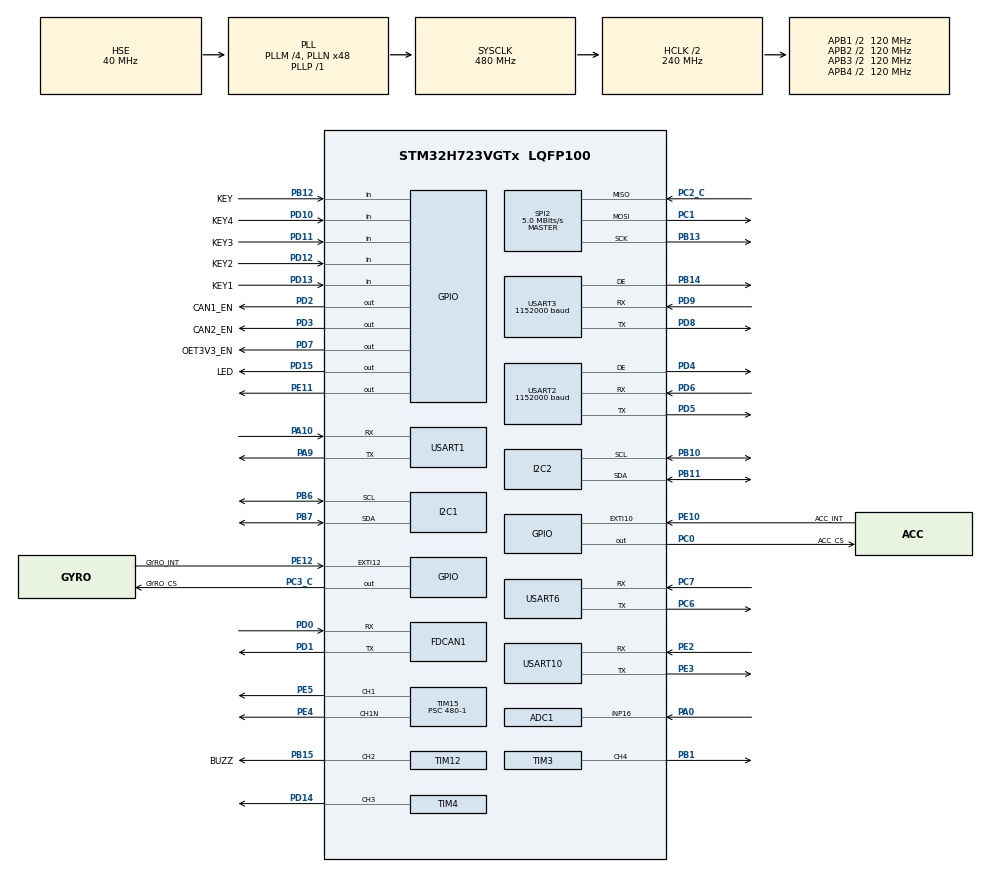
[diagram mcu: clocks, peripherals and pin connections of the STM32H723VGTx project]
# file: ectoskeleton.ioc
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ADC1.Channel-1\#ChannelRegularConversion=ADC_CHANNEL_16
ADC1.ContinuousConvMode=DISABLE
ADC1.ConversionDataManagement=ADC_CONVERSIONDATA_DMA_CIRCULAR
ADC1.DiscontinuousConvMode=ENABLE
ADC1.EnableRegularConversion=ENABLE
ADC1.NbrOfConversionFlag=1
ADC1.OffsetNumber-1\#ChannelRegularConversion=ADC_OFFSET_NONE
ADC1.OffsetSignedSaturation-1\#ChannelRegularConversion=DISABLE
ADC1.Rank-1\#ChannelRegularConversion=1
ADC1.SamplingTime-1\#ChannelRegularConversion=ADC_SAMPLETIME_1CYCLE_5
ADC1.master=1
CORTEX_M7.default_mode_Activation=0
Dma.ADC1.3.Direction=DMA_PERIPH_TO_MEMORY
Dma.ADC1.3.EventEnable=DISABLE
Dma.ADC1.3.FIFOMode=DMA_FIFOMODE_DISABLE
Dma.ADC1.3.Instance=DMA1_Stream5
Dma.ADC1.3.MemDataAlignment=DMA_MDATAALIGN_HALFWORD
Dma.ADC1.3.MemInc=DMA_MINC_ENABLE
Dma.ADC1.3.Mode=DMA_NORMAL
Dma.ADC1.3.PeriphDataAlignment=DMA_PDATAALIGN_HALFWORD
Dma.ADC1.3.PeriphInc=DMA_PINC_DISABLE
Dma.ADC1.3.Polarity=HAL_DMAMUX_REQ_GEN_RISING
Dma.ADC1.3.Priority=DMA_PRIORITY_LOW
Dma.ADC1.3.RequestNumber=1
Dma.ADC1.3.SignalID=NONE
Dma.ADC1.3.SyncEnable=DISABLE
Dma.ADC1.3.SyncPolarity=HAL_DMAMUX_SYNC_NO_EVENT
Dma.ADC1.3.SyncRequestNumber=1
Dma.ADC1.3.SyncSignalID=NONE
Dma.Request0=TIM4_CH3
Dma.Request1=SPI2_RX
Dma.Request2=SPI2_TX
Dma.Request3=ADC1
Dma.SPI2_RX.1.Direction=DMA_PERIPH_TO_MEMORY
Dma.SPI2_RX.1.EventEnable=DISABLE
Dma.SPI2_RX.1.FIFOMode=DMA_FIFOMODE_DISABLE
Dma.SPI2_RX.1.Instance=DMA1_Stream1
Dma.SPI2_RX.1.MemDataAlignment=DMA_MDATAALIGN_BYTE
Dma.SPI2_RX.1.MemInc=DMA_MINC_ENABLE
Dma.SPI2_RX.1.Mode=DMA_NORMAL
Dma.SPI2_RX.1.PeriphDataAlignment=DMA_PDATAALIGN_BYTE
Dma.SPI2_RX.1.PeriphInc=DMA_PINC_DISABLE
Dma.SPI2_RX.1.Polarity=HAL_DMAMUX_REQ_GEN_RISING
Dma.SPI2_RX.1.Priority=DMA_PRIORITY_VERY_HIGH
Dma.SPI2_RX.1.RequestNumber=1
Dma.SPI2_RX.1.SignalID=NONE
Dma.SPI2_RX.1.SyncEnable=DISABLE
Dma.SPI2_RX.1.SyncPolarity=HAL_DMAMUX_SYNC_NO_EVENT
Dma.SPI2_RX.1.SyncRequestNumber=1
Dma.SPI2_RX.1.SyncSignalID=NONE
Dma.SPI2_TX.2.Direction=DMA_MEMORY_TO_PERIPH
Dma.SPI2_TX.2.EventEnable=DISABLE
Dma.SPI2_TX.2.FIFOMode=DMA_FIFOMODE_DISABLE
Dma.SPI2_TX.2.Instance=DMA1_Stream2
Dma.SPI2_TX.2.MemDataAlignment=DMA_MDATAALIGN_BYTE
Dma.SPI2_TX.2.MemInc=DMA_MINC_ENABLE
Dma.SPI2_TX.2.Mode=DMA_NORMAL
Dma.SPI2_TX.2.PeriphDataAlignment=DMA_PDATAALIGN_BYTE
Dma.SPI2_TX.2.PeriphInc=DMA_PINC_DISABLE
Dma.SPI2_TX.2.Polarity=HAL_DMAMUX_REQ_GEN_RISING
Dma.SPI2_TX.2.Priority=DMA_PRIORITY_HIGH
Dma.SPI2_TX.2.RequestNumber=1
Dma.SPI2_TX.2.SignalID=NONE
Dma.SPI2_TX.2.SyncEnable=DISABLE
Dma.SPI2_TX.2.SyncPolarity=HAL_DMAMUX_SYNC_NO_EVENT
Dma.SPI2_TX.2.SyncRequestNumber=1
Dma.SPI2_TX.2.SyncSignalID=NONE
Dma.TIM4_CH3.0.Direction=DMA_PERIPH_TO_MEMORY
Dma.TIM4_CH3.0.EventEnable=DISABLE
Dma.TIM4_CH3.0.FIFOMode=DMA_FIFOMODE_DISABLE
Dma.TIM4_CH3.0.Instance=DMA1_Stream0
Dma.TIM4_CH3.0.MemDataAlignment=DMA_MDATAALIGN_HALFWORD
Dma.TIM4_CH3.0.MemInc=DMA_MINC_ENABLE
Dma.TIM4_CH3.0.Mode=DMA_NORMAL
Dma.TIM4_CH3.0.PeriphDataAlignment=DMA_PDATAALIGN_HALFWORD
Dma.TIM4_CH3.0.PeriphInc=DMA_PINC_DISABLE
Dma.TIM4_CH3.0.Polarity=HAL_DMAMUX_REQ_GEN_RISING
Dma.TIM4_CH3.0.Priority=DMA_PRIORITY_LOW
Dma.TIM4_CH3.0.RequestNumber=1
Dma.TIM4_CH3.0.SignalID=NONE
Dma.TIM4_CH3.0.SyncEnable=DISABLE
Dma.TIM4_CH3.0.SyncPolarity=HAL_DMAMUX_SYNC_NO_EVENT
Dma.TIM4_CH3.0.SyncRequestNumber=1
Dma.TIM4_CH3.0.SyncSignalID=NONE
FDCAN1.AutoRetransmission=ENABLE
FDCAN1.CalculateBaudRateNominal=1000000
FDCAN1.CalculateTimeBitNominal=1000
FDCAN1.CalculateTimeQuantumNominal=12.5
FDCAN1.DataSyncJumpWidth=2
FDCAN1.DataTimeSeg1=13
FDCAN1.DataTimeSeg2=2
FDCAN1.ExtFiltersNbr=4
FDCAN1.NominalPrescaler=1
FDCAN1.NominalSyncJumpWidth=20
FDCAN1.NominalTimeSeg1=59
FDCAN1.NominalTimeSeg2=20
FDCAN1.ProtocolException=ENABLE
FDCAN1.RxBuffersNbr=2
FDCAN1.RxFifo0ElmtsNbr=8
FDCAN1.RxFifo1ElmtsNbr=8
FDCAN1.StdFiltersNbr=4
FDCAN1.TxBuffersNbr=8
FDCAN1.TxEventsNbr=8
FDCAN1.TxFifoQueueElmtsNbr=8
FREERTOS.Tasks01=defaultTask,8,512,StartDefaultTask,Default,NULL,Dynamic,NULL,NULL;LCDTask,23,768,StartLedTask,Default,NULL,Dynamic,NULL,NULL;MotorTask,27,768,StartMotorTask,Default,NULL,Dynamic,NULL,NULL;IMUTask,31,1024,StartIMUTask,Default,NULL,Dynamic,NULL,NULL;S485Task,32,4096,StartS485Task,Default,NULL,Dynamic,NULL,NULL
FREERTOS.configTOTAL_HEAP_SIZE=50960
FREERTOS.configUSE_NEWLIB_REENTRANT=1
I2C1.Timing=0x307075B1
I2C2.Timing=0x307075B1
Mcu.Family=STM32H7
Mcu.Name=STM32H723VGTx
Mcu.Package=LQFP100
NVIC.DMA1_Stream0_IRQn=true\:5\:0\:false\:false\:true\:true\:false\:true\:true
NVIC.DMA1_Stream1_IRQn=true\:5\:0\:false\:false\:true\:true\:false\:true\:true
NVIC.DMA1_Stream2_IRQn=true\:5\:0\:false\:false\:true\:true\:false\:true\:true
NVIC.DMA1_Stream5_IRQn=true\:5\:0\:false\:false\:true\:true\:false\:true\:true
NVIC.EXTI15_10_IRQn=true\:5\:0\:false\:false\:true\:false\:true\:true\:true
NVIC.FDCAN1_IT0_IRQn=true\:5\:0\:false\:false\:true\:true\:true\:true\:true
NVIC.FDCAN1_IT1_IRQn=true\:5\:0\:false\:false\:true\:true\:true\:true\:true
NVIC.PriorityGroup=NVIC_PRIORITYGROUP_4
NVIC.SPI2_IRQn=true\:5\:0\:false\:false\:true\:true\:false\:true\:true
NVIC.TIM1_UP_IRQn=true\:15\:0\:false\:false\:true\:false\:false\:true\:true
NVIC.TimeBase=TIM1_UP_IRQn
NVIC.TimeBaseIP=TIM1
NVIC.USART10_IRQn=true\:5\:0\:false\:false\:true\:true\:true\:true\:true
NVIC.USART1_IRQn=true\:5\:0\:false\:false\:true\:true\:true\:true\:true
NVIC.USART2_IRQn=true\:5\:0\:false\:false\:true\:true\:true\:true\:true
NVIC.USART3_IRQn=true\:5\:0\:false\:false\:true\:true\:true\:true\:true
NVIC.USART6_IRQn=true\:5\:0\:false\:false\:true\:true\:true\:true\:true
PA0.Mode=IN16-Single-Ended
PA0.Signal=ADC1_INP16
PA10.Mode=Asynchronous
PA10.Signal=USART1_RX
PA13(JTMS/SWDIO).Mode=Serial_Wire
PA13(JTMS/SWDIO).Signal=DEBUG_JTMS-SWDIO
PA14(JTCK/SWCLK).Mode=Serial_Wire
PA14(JTCK/SWCLK).Signal=DEBUG_JTCK-SWCLK
PA9.Mode=Asynchronous
PA9.Signal=USART1_TX
PB1.Signal=S_TIM3_CH4
PB10.Mode=I2C
PB10.Signal=I2C2_SCL
PB11.Mode=I2C
PB11.Signal=I2C2_SDA
PB12.GPIO_Label=KEY
PB12.Signal=GPIO_Input
PB13.GPIO_Speed=GPIO_SPEED_FREQ_VERY_HIGH
PB13.Mode=Full_Duplex_Master
PB13.Signal=SPI2_SCK
PB14.Mode=Hardware Flow Control (RS485)
PB14.Signal=USART3_DE
PB15.GPIO_Label=BUZZ
PB15.Signal=S_TIM12_CH2
PB6.Mode=I2C
PB6.Signal=I2C1_SCL
PB7.Mode=I2C
PB7.Signal=I2C1_SDA
PC0.GPIO_Label=ACC_CS
PC0.PinState=GPIO_PIN_SET
PC0.Signal=GPIO_Output
PC1.GPIO_Speed=GPIO_SPEED_FREQ_VERY_HIGH
PC1.Mode=Full_Duplex_Master
PC1.Signal=SPI2_MOSI
PC2_C.GPIO_Speed=GPIO_SPEED_FREQ_VERY_HIGH
PC2_C.Mode=Full_Duplex_Master
PC2_C.Signal=SPI2_MISO
PC3_C.GPIO_Label=GYRO_CS
PC3_C.PinState=GPIO_PIN_SET
PC3_C.Signal=GPIO_Output
PC6.GPIO_PuPd=GPIO_PULLUP
PC6.Mode=Asynchronous
PC6.Signal=USART6_TX
PC7.GPIO_PuPd=GPIO_PULLUP
PC7.Mode=Asynchronous
PC7.Signal=USART6_RX
PD0.GPIO_Speed=GPIO_SPEED_FREQ_VERY_HIGH
PD0.Mode=FDCAN_Activate
PD0.Signal=FDCAN1_RX
PD1.GPIO_Speed=GPIO_SPEED_FREQ_VERY_HIGH
PD1.Mode=FDCAN_Activate
PD1.Signal=FDCAN1_TX
PD10.GPIO_Label=KEY4
PD10.Signal=GPIO_Input
PD11.GPIO_Label=KEY3
PD11.Signal=GPIO_Input
PD12.GPIO_Label=KEY2
PD12.Signal=GPIO_Input
PD13.GPIO_Label=KEY1
PD13.Signal=GPIO_Input
PD14.Signal=S_TIM4_CH3
PD15.GPIO_Label=LED
PD15.Signal=GPIO_Output
PD2.GPIO_Label=CAN1_EN
PD2.Signal=GPIO_Output
PD3.GPIO_Label=CAN2_EN
PD3.Signal=GPIO_Output
PD4.Mode=Hardware Flow Control (RS485)
PD4.Signal=USART2_DE
PD5.Mode=Asynchronous
PD5.Signal=USART2_TX
PD6.Mode=Asynchronous
PD6.Signal=USART2_RX
PD7.GPIO_Label=OET3V3_EN
PD7.Signal=GPIO_Output
PD8.Mode=Asynchronous
PD8.Signal=USART3_TX
PD9.Mode=Asynchronous
PD9.Signal=USART3_RX
PE10.GPIO_Label=ACC_INT
PE10.Signal=GPXTI10
PE11.Signal=GPIO_Output
PE12.GPIO_Label=GYRO_INT
PE12.Signal=GPXTI12
PE2.GPIO_PuPd=GPIO_PULLUP
PE2.Mode=Asynchronous
PE2.Signal=USART10_RX
PE3.GPIO_PuPd=GPIO_PULLUP
PE3.Mode=Asynchronous
PE3.Signal=USART10_TX
PE4.Mode=PWM Generation1 CH1 CH1N
PE4.Signal=TIM15_CH1N
PE5.Signal=S_TIM15_CH1
PH0-OSC_IN.Mode=HSE-External-Oscillator
PH0-OSC_IN.Signal=RCC_OSC_IN
PH1-OSC_OUT.Mode=HSE-External-Oscillator
PH1-OSC_OUT.Signal=RCC_OSC_OUT
ProjectManager.HeapSize=0x200
ProjectManager.StackSize=0x400
ProjectManager.TargetToolchain=STM32CubeIDE
RCC.ADCFreq_Value=100000000
RCC.APB1Freq_Value=120000000
RCC.APB2Freq_Value=120000000
RCC.APB3Freq_Value=120000000
RCC.APB4Freq_Value=120000000
RCC.CortexFreq_Value=480000000
RCC.D1PPRE=RCC_APB3_DIV2
RCC.D2PPRE1=RCC_APB1_DIV2
RCC.D2PPRE2=RCC_APB2_DIV2
RCC.D3PPRE=RCC_APB4_DIV2
RCC.DIVM1=4
RCC.DIVM2=3
RCC.DIVN1=48
RCC.DIVN2=15
RCC.DIVP1=1
RCC.DIVQ1=6
RCC.HCLKFreq_Value=240000000
RCC.HPRE=RCC_HCLK_DIV2
RCC.HSE_VALUE=40000000
RCC.PLL2FRACN=0
RCC.PLL2_VCI_Range-AdvancedSettings=RCC_PLL2VCIRANGE_1
RCC.PLL3FRACN=0
RCC.PLL3_VCI_Range-AdvancedSettings=RCC_PLL3VCIRANGE_0
RCC.PLL3_VCO_SEL-AdvancedSettings=RCC_PLL3VCOMEDIUM
RCC.PLLFRACN=0
RCC.PLLSourceVirtual=RCC_PLLSOURCE_HSE
RCC.SYSCLKFreq_VALUE=480000000
RCC.SYSCLKSource=RCC_SYSCLKSOURCE_PLLCLK
RCC.USBFreq_Value=80000000
SH.S_TIM12_CH2.0=TIM12_CH2,PWM Generation2 CH2
SH.S_TIM15_CH1.0=TIM15_CH1,PWM Generation1 CH1 CH1N
SH.S_TIM3_CH4.0=TIM3_CH4,PWM Generation4 CH4
SH.S_TIM4_CH3.0=TIM4_CH3,PWM Generation3 CH3
SPI2.BaudRatePrescaler=SPI_BAUDRATEPRESCALER_16
SPI2.CLKPhase=SPI_PHASE_2EDGE
SPI2.CLKPolarity=SPI_POLARITY_HIGH
SPI2.CalculateBaudRate=5.0 MBits/s
SPI2.DataSize=SPI_DATASIZE_8BIT
SPI2.Direction=SPI_DIRECTION_2LINES
SPI2.Mode=SPI_MODE_MASTER
SPI2.VirtualType=VM_MASTER
TIM12.Channel-PWM\ Generation2\ CH2=TIM_CHANNEL_2
TIM12.Period=2000-1
TIM12.Prescaler=24
TIM15.Channel-PWM\ Generation1\ CH1\ CH1N=TIM_CHANNEL_1
TIM15.Period=1000-1
TIM15.Prescaler=480-1
TIM3.Channel-PWM\ Generation4\ CH4=TIM_CHANNEL_4
TIM4.Channel-PWM\ Generation3\ CH3=TIM_CHANNEL_3
TIM4.Period=687
USART1.VirtualMode-Asynchronous=VM_ASYNC
USART10.VirtualMode=VM_ASYNC
USART2.BaudRate=1152000
USART2.VirtualMode-Asynchronous=VM_ASYNC
USART2.VirtualMode-Hardware\ Flow\ Control\ (RS485)=VM_ASYNC
USART3.BaudRate=1152000
USART3.VirtualMode-Asynchronous=VM_ASYNC
USART3.VirtualMode-Hardware\ Flow\ Control\ (RS485)=VM_ASYNC
USART6.VirtualMode=VM_ASYNC
VP_FREERTOS_VS_CMSIS_V2.Mode=CMSIS_V2
VP_MEMORYMAP_VS_MEMORYMAP.Mode=CurAppReg
VP_SYS_VS_tim1.Mode=TIM1
VP_TIM4_VS_ClockSourceINT.Mode=Internal
board=custom

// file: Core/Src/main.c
/* USER CODE BEGIN Header */
/**
  ******************************************************************************
  * @file           : main.c
  * @brief          : Main program body
  ******************************************************************************
  * @attention
  *
  * Copyright (c) 2025 STMicroelectronics.
  * All rights reserved.
  *
  * This software is licensed under terms that can be found in the LICENSE file
  * in the root directory of this software component.
  * If no LICENSE file comes with this software, it is provided AS-IS.
  *
  ******************************************************************************
  */
/* USER CODE END Header */
#include "main.h"
#include "cmsis_os.h"
#include "adc.h"
#include "dma.h"
#include "fdcan.h"
#include "i2c.h"
#include "memorymap.h"
#include "spi.h"
#include "tim.h"
#include "usart.h"
#include "gpio.h"

/* USER CODE BEGIN Includes */
#include "BMI088driver.h"
#include "stdio.h"
#include "usart_server.h"
#include "fan.h"
/* USER CODE END Includes */

void SystemClock_Config(void);
void MX_FREERTOS_Init(void);

/* USER CODE BEGIN 0 */
#ifdef __GNUC__
#define PUTCHAR_PROTOTYPE int __io_putchar(int ch)
#define GETCHAR_PROTOTYPE int __io_getchar(FILE *f)
#else
#define PUTCHAR_PROTOTYPE int fputc(int ch, FILE *f)
#define GETCHAR_PROTOTYPE int fgetc(FILE *f)
#endif /* __GNUC__ */
PUTCHAR_PROTOTYPE
{
	HAL_UART_Transmit(&huart1, (uint8_t *)&ch, 1, 0xFFFF);
	return ch;
}
GETCHAR_PROTOTYPE
{
	uint8_t ch = 0;
	HAL_UART_Receive(&huart1,(uint8_t *)&ch, 1, 0xFFFF);
	if (ch == '\r')
	{
		__io_putchar('\r');
		ch = '\n';
	}
	return __io_putchar(ch);
}

/* USER CODE END 0 */

int main(void)
{

  /* MCU Configuration--------------------------------------------------------*/

  /* Reset of all peripherals, Initializes the Flash interface and the Systick. */
  HAL_Init();

  /* Configure the system clock */
  SystemClock_Config();

  /* Initialize all configured peripherals */
  MX_GPIO_Init();
  MX_DMA_Init();
  MX_FDCAN1_Init();
  MX_I2C1_Init();
  MX_I2C2_Init();
  MX_TIM12_Init();
  MX_USART1_UART_Init();
  MX_USART10_UART_Init();
  MX_USART2_UART_Init();
  MX_USART3_UART_Init();
  MX_USART6_UART_Init();
  MX_SPI2_Init();
  MX_TIM3_Init();
  MX_ADC1_Init();
  MX_TIM4_Init();
  MX_TIM15_Init();

  /* USER CODE BEGIN 2 */
  UART6_StartReceive();
  HAL_Delay(1000);

  HAL_GPIO_WritePin(GPIOD, OET3V3_EN_Pin, 1);
  HAL_Delay(1000);

  //  HAL_UART_Receive_IT(&huart1, &ble_rxData, 1);
  HAL_TIM_PWM_Stop_DMA(&htim4,TIM_CHANNEL_3);
  Start_FAN();
  /* USER CODE END 2 */

  /* Init scheduler */
  osKernelInitialize();

  /* Call init function for freertos objects (in cmsis_os2.c) */
  MX_FREERTOS_Init();

  /* Start scheduler */
  osKernelStart();

  /* We should never get here as control is now taken by the scheduler */

  /* Infinite loop */
  while (1)
  {

  }
}

void SystemClock_Config(void)
{
  RCC_OscInitTypeDef RCC_OscInitStruct = {0};
  RCC_ClkInitTypeDef RCC_ClkInitStruct = {0};

  /** Supply configuration update enable
  */
  HAL_PWREx_ConfigSupply(PWR_LDO_SUPPLY);

  /** Configure the main internal regulator output voltage
  */
  __HAL_PWR_VOLTAGESCALING_CONFIG(PWR_REGULATOR_VOLTAGE_SCALE0);

  while(!__HAL_PWR_GET_FLAG(PWR_FLAG_VOSRDY)) {}

  /** Initializes the RCC Oscillators according to the specified parameters
  * in the RCC_OscInitTypeDef structure.
  */
  RCC_OscInitStruct.OscillatorType = RCC_OSCILLATORTYPE_HSE;
  RCC_OscInitStruct.HSEState = RCC_HSE_ON;
  RCC_OscInitStruct.PLL.PLLState = RCC_PLL_ON;
  RCC_OscInitStruct.PLL.PLLSource = RCC_PLLSOURCE_HSE;
  RCC_OscInitStruct.PLL.PLLM = 4;
  RCC_OscInitStruct.PLL.PLLN = 48;
  RCC_OscInitStruct.PLL.PLLP = 1;
  RCC_OscInitStruct.PLL.PLLQ = 6;
  RCC_OscInitStruct.PLL.PLLR = 2;
  RCC_OscInitStruct.PLL.PLLRGE = RCC_PLL1VCIRANGE_3;
  RCC_OscInitStruct.PLL.PLLVCOSEL = RCC_PLL1VCOWIDE;
  RCC_OscInitStruct.PLL.PLLFRACN = 0;
  if (HAL_RCC_OscConfig(&RCC_OscInitStruct) != HAL_OK)
  {
    Error_Handler();
  }

  /** Initializes the CPU, AHB and APB buses clocks
  */
  RCC_ClkInitStruct.ClockType = RCC_CLOCKTYPE_HCLK|RCC_CLOCKTYPE_SYSCLK
                              |RCC_CLOCKTYPE_PCLK1|RCC_CLOCKTYPE_PCLK2
                              |RCC_CLOCKTYPE_D3PCLK1|RCC_CLOCKTYPE_D1PCLK1;
  RCC_ClkInitStruct.SYSCLKSource = RCC_SYSCLKSOURCE_PLLCLK;
  RCC_ClkInitStruct.SYSCLKDivider = RCC_SYSCLK_DIV1;
  RCC_ClkInitStruct.AHBCLKDivider = RCC_HCLK_DIV2;
  RCC_ClkInitStruct.APB3CLKDivider = RCC_APB3_DIV2;
  RCC_ClkInitStruct.APB1CLKDivider = RCC_APB1_DIV2;
  RCC_ClkInitStruct.APB2CLKDivider = RCC_APB2_DIV2;
  RCC_ClkInitStruct.APB4CLKDivider = RCC_APB4_DIV2;

  if (HAL_RCC_ClockConfig(&RCC_ClkInitStruct, FLASH_LATENCY_3) != HAL_OK)
  {
    Error_Handler();
  }
}

void HAL_TIM_PeriodElapsedCallback(TIM_HandleTypeDef *htim)
{
  if (htim->Instance == TIM1)
  {
    HAL_IncTick();
  }
}

void Error_Handler(void)
{
  __disable_irq();
  while (1)
  {
  }
}

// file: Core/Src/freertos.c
/* USER CODE BEGIN Header */
/**
  ******************************************************************************
  * File Name          : freertos.c
  * Description        : Code for freertos applications
  ******************************************************************************
  * @attention
  *
  * Copyright (c) 2025 STMicroelectronics.
  * All rights reserved.
  *
  * This software is licensed under terms that can be found in the LICENSE file
  * in the root directory of this software component.
  * If no LICENSE file comes with this software, it is provided AS-IS.
  *
  ******************************************************************************
  */
/* USER CODE END Header */

#include <imu_task.h>
#include "FreeRTOS.h"
#include "task.h"
#include "main.h"
#include "cmsis_os.h"

/* USER CODE BEGIN Includes */
#include "motor_task.h"
#include "WS2812B.h"
#include "BMI088driver.h"
#include "stdio.h"
#include "string.h"
#include "S485_master.h"
#include "global_param.h"
#include "adc.h"
#include "dm_motor_ctrl.h"

/* USER CODE END Includes */

/* USER CODE BEGIN PM */
extern UART_HandleTypeDef huart1;
extern TIM_HandleTypeDef htim2;
/* USER CODE END PM */

/* Definitions for defaultTask */
osThreadId_t defaultTaskHandle;
const osThreadAttr_t defaultTask_attributes = {
  .name = "defaultTask",
  .stack_size = 512 * 4,
  .priority = (osPriority_t) osPriorityLow,
};

/* Definitions for LCDTask */
osThreadId_t LCDTaskHandle;
const osThreadAttr_t LCDTask_attributes = {
  .name = "LCDTask",
  .stack_size = 768 * 4,
  .priority = (osPriority_t) osPriorityBelowNormal7,
};

/* Definitions for MotorTask */
osThreadId_t MotorTaskHandle;
const osThreadAttr_t MotorTask_attributes = {
  .name = "MotorTask",
  .stack_size = 768 * 4,
  .priority = (osPriority_t) osPriorityNormal3,
};

/* Definitions for IMUTask */
osThreadId_t IMUTaskHandle;
const osThreadAttr_t IMUTask_attributes = {
  .name = "IMUTask",
  .stack_size = 2048 * 4,
  .priority = (osPriority_t) osPriorityNormal7,
};

/* Definitions for S485Task */
osThreadId_t S485TaskHandle;
const osThreadAttr_t S485Task_attributes = {
  .name = "S485Task",
  .stack_size = 4096 * 4,
  .priority = (osPriority_t) osPriorityAboveNormal,
};

/* USER CODE BEGIN FunctionPrototypes */
uint32_t adc_buffer = 0;
uint8_t ADC_battery(uint32_t adc) {

	HAL_ADC_Start_DMA(&hadc1, &adc_buffer, 1);

	const double min_voltage = 2.02f;
    // 1. 将 ADC 值转换为电压（假设 ADC 满量程对应 3.3V）
	double voltage = (double)adc_buffer * 3.3f / 65535.0f / min_voltage * 22.2 - 0.35;

//	printf("voltage:%f\r\n", voltage);

    // 2. 定义电池电压有效范围

    // 3. 计算百分比（限制在 0~100%）
    double percentage = (voltage-20) / (25.2-20) * 100.0f;
    if (percentage < 0.0f) percentage = 0.0f;
    if (percentage > 100.0f) percentage = 100.0f;

    // 4. 转换为整数百分比
    return percentage;
}
/* USER CODE END FunctionPrototypes */

void StartDefaultTask(void *argument);
void StartLedTask(void *argument);
void StartMotorTask(void *argument);
void StartIMUTask(void *argument);
void StartS485Task(void *argument);

void MX_FREERTOS_Init(void); /* (MISRA C 2004 rule 8.1) */

void MX_FREERTOS_Init(void) {

	/* USER CODE BEGIN RTOS_THREADS */
	/* creation of defaultTask */
	defaultTaskHandle = osThreadNew(StartDefaultTask, NULL, &defaultTask_attributes);

	/* creation of LCDTask */
 	LCDTaskHandle = osThreadNew(StartLedTask, NULL, &LCDTask_attributes);

	/* creation of MotorTask */
	MotorTaskHandle = osThreadNew(StartMotorTask, NULL, &MotorTask_attributes);

	/* creation of IMUTask */
	IMUTaskHandle = osThreadNew(StartIMUTask, NULL, &IMUTask_attributes);

	/* creation of S485Task */
	S485TaskHandle = osThreadNew(StartS485Task, NULL, &S485Task_attributes);
	/* USER CODE END RTOS_THREADS */

}

void StartDefaultTask(void *argument)
{
  /* USER CODE BEGIN StartDefaultTask */
  printf("[INFO] DefaultTask Started.\r\n");

  // print system info
  printf("[INFO] System Clock: %ld Hz\r\n", HAL_RCC_GetSysClockFreq());
  printf("[INFO] System Tick: %d Hz\r\n", 1000);

  /* Infinite loop */
  for(;;)
  {
    osDelay(1);
  }
  /* USER CODE END StartDefaultTask */
}

void StartLedTask(void *argument)
{
  /* USER CODE BEGIN StartLedTask */
  printf("[INFO] LedTask Started.\r\n");
//  Set_LED(0,255,255,255);
//  Set_Brightness(1);
//  WS2812_Send();
  Color_TypeDef temp;

  temp.R = 0x00;
  temp.G = 0xff;
  temp.B = 0x00;
  WS2812B_FillColor(0,1,&temp);
  WS2812B_RefreshPixel();
  osDelay(1000);

  /* Infinite loop */
  for(;;)
  {
	temp.R = (temp.R + 0x0f);
	temp.G = (0x00 + 0x00);
	temp.B = (0x00 + 0x00);
	WS2812B_FillColor(0,1,&temp);
	WS2812B_RefreshPixel();

	uint8_t battery = ADC_battery(adc_buffer);
    char battery_data[16];
    // 格式化为 BA100 格式 (BA + 电量百分比)
    snprintf(battery_data, sizeof(battery_data), "%d", battery);
    // 使用 UART6_SendData 发送电量百分比数据(TO NRF)
    UART6_SendData("BA", battery_data);
//	printf("[INFO] Battery Percentage: %d%%\r\n", battery);	// print battery percentage
    osDelay(5000); 	// 延时5秒
  }
  /* USER CODE END StartLedTask */
}

/* USER CODE BEGIN Header_StartMotorTask */
/**
* @brief Function implementing the MotorTask thread.
* @param argument: Not used
* @retval None
*/
/* 定时器句柄，用于100Hz的数据采集 & 控制 */
osTimerId_t dm_motor_TimerId;
/* USER CODE END Header_StartMotorTask */
void StartMotorTask(void *argument)
{
	printf("[INFO] MotorTask started\r\n");
	/* USER CODE BEGIN StartMotorTask */
	can_bsp_init();

	// motor init
	dm_motor_init();

	dm_motor_disable(&hfdcan1,&motor[Motor1]);
	osDelay(100);
	dm_motor_enable(&hfdcan1,&motor[Motor1]);
	osDelay(100);
	save_pos_zero(&hfdcan1,1,MIT_MODE);

//	dm_motor_disable(&hfdcan1,&motor[Motor2]);
//	osDelay(100);
//	dm_motor_enable(&hfdcan1,&motor[Motor2]);
//	osDelay(100);

	// 创建定时器，用于100Hz的控制信号输出
	osTimerAttr_t timer_attr = {
		.name = "dm_motor_Timer"
	};
	dm_motor_TimerId = osTimerNew(dm_motor_timer_cbk, osTimerPeriodic, NULL, &timer_attr);
	osTimerStart(dm_motor_TimerId, 10);	// start 100hz soft timer

	/* Infinite loop */
	for(;;)
	{

		osDelay(20);
	}
	/* USER CODE END StartMotorTask */
}

void StartIMUTask(void *argument)
{
	/* USER CODE BEGIN StartIMUTask */
	printf("[INFO] IMUTask started\r\n");
	imu_task_init();	// IMU 任务初始化

	/* Infinite loop */
	for(;;)
	{
		imu_task_loop();	// IMU 数据处理循环
		osDelay(1); 		// 延时1ms/tick
	}
  /* USER CODE END StartIMUTask */
}

void StartS485Task(void *argument)
{
	/* USER CODE BEGIN StartS485Task */
	osDelay(5000);
    if (!RS485_InitializeSensors()) {
        printf("[INFO] RS485 sensors initialization failed\r\n");
    } else {
        printf("[INFO] RS485 sensors initialized successfully\r\n");
        osTimerStart(rs485DataTimerId, 10);	// start 100Hz data collection timer
    }

    // 任务主循环
    for (;;) {
    	 //printf("RS485 For cir\r\n");
        // 监控设备状态
        if (!rs485_sensor_1.initialized || !rs485_sensor_2.initialized) {
            // 如果设备未初始化，尝试重新初始化
            RS485_QueryStatus(&rs485_sensor_1);
            osDelay(100);
            RS485_QueryStatus(&rs485_sensor_2);
            printf("[INFO] RS485 sensors initial ongoing.\r\n");

            // 检查是否所有设备都已初始化
            if (rs485_sensor_1.initialized && rs485_sensor_2.initialized) {
                printf("[INFO] RS485 sensors initial successfully.\r\n");

                // 启动100Hz数据采集定时器
                osTimerStart(rs485DataTimerId, 10); // 10ms = 100Hz

            	//RS485_AUTO_SendDataStart(&rs485_sensor_1);
            	//RS485_AUTO_SendDataStart(&rs485_sensor_2);
            }
        }

        if( g_system_state.rs485_sensor_data_2.imu_data_1.dataReady &&
			g_system_state.rs485_sensor_data_2.imu_data_2.dataReady) {
//			printf("RS485 Sensor 2 Data Ready\r\n");
			g_system_state.rs485_sensor_data_2.imu_data_1.dataReady = false;
			g_system_state.rs485_sensor_data_2.imu_data_2.dataReady = false;

			// RS485 Sensor 2 imu-1
			float inc_angle;
			float q[4] = {
				g_system_state.rs485_sensor_data_2.imu_data_1.quat.w,
				g_system_state.rs485_sensor_data_2.imu_data_1.quat.x,
				g_system_state.rs485_sensor_data_2.imu_data_1.quat.y,
				g_system_state.rs485_sensor_data_2.imu_data_1.quat.z
			};
			inc_angle = quat_to_incangle(q,0);
			g_system_state.rs485_sensor_data_2.imu_data_1.inc_angle = inc_angle;

			// RS485 Sensor 2 imu-2
			q[0] = g_system_state.rs485_sensor_data_2.imu_data_2.quat.w;
			q[1] = g_system_state.rs485_sensor_data_2.imu_data_2.quat.x;
			q[2] = g_system_state.rs485_sensor_data_2.imu_data_2.quat.y;
			q[3] = g_system_state.rs485_sensor_data_2.imu_data_2.quat.z;
			inc_angle = quat_to_incangle(q,0);
			g_system_state.rs485_sensor_data_2.imu_data_2.inc_angle = inc_angle;

//			printf("[DATA] SENSOR 2 IMU 1[inc]:%.3f\r\n",
//					g_system_state.rs485_sensor_data_2.imu_data_1.inc_angle);
//			printf("[DATA] SENSOR 2 IMU 2[inc]:%.3f\r\n",
//					g_system_state.rs485_sensor_data_2.imu_data_2.inc_angle);

//			printf("[DATA] imu-1[quat]:%.3f,%.3f,%.3f,%.3f\r\n",
//					g_system_state.rs485_sensor_data_2.imu_data_1.quat.w,
//					g_system_state.rs485_sensor_data_2.imu_data_1.quat.x,
//					g_system_state.rs485_sensor_data_2.imu_data_1.quat.y,
//					g_system_state.rs485_sensor_data_2.imu_data_1.quat.z);

			// process data here
			// ...
		}

        osDelay(1);
    }
    /* USER CODE END StartS485Task */
}
